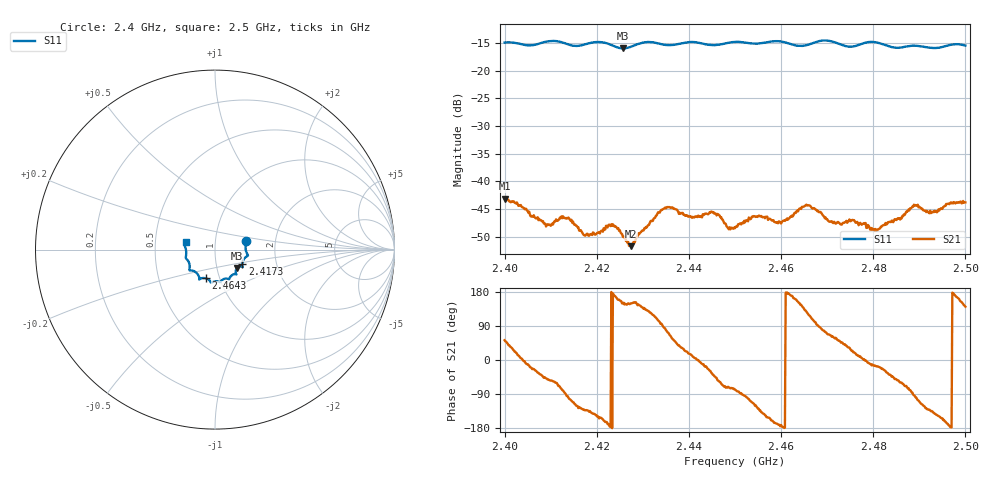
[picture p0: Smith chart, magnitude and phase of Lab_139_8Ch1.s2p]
# Hz S RI R 50
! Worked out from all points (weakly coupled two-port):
!   601 points, 2.4 GHz to 2.5 GHz, reference 50 ohm
!   highest |S21| = -43.13 dB at 2.4 GHz (marker M1); lowest = -51.7 dB at 2.4273 GHz (marker M2)
!   lowest |S11| = -15.9 dB at 2.4257 GHz (marker M3), VSWR 1.38, Z = 62.4 - j13.1 ohm
!   |S11| at or under -10 dB: start of sweep to end of sweep
!   S12 and S22 are empty: the file has one direction only
!   S11 on the Smith chart (normalised r, x): 2.4 GHz: 1.41, +0.14; 2.4173 GHz: 1.34, -0.23; 2.4643 GHz: 0.86, -0.28; 2.5 GHz: 0.72, +0.06
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2.4e9  0.1734 0.0495  0.00429 0.0055  0 0  0 0
2.409e9  0.1815 -0.0283  0.00259 -0.00292  0 0  0 0
2.414e9  0.1658 -0.0466  -0.000989 -0.00451  0 0  0 0
2.416667e9  0.153 -0.0749  -0.00219 -0.00278  0 0  0 0
2.417333e9  0.1521 -0.0823  -0.00219 -0.0024  0 0  0 0
2.423e9  0.1452 -0.0934  -0.00392 -0.000221  0 0  0 0
2.425667e9  0.1226 -0.1022  -0.0027 0.00161  0 0  0 0
2.427333e9  0.1156 -0.1175  -0.00222 0.00132  0 0  0 0
2.433333e9  0.1127 -0.1366  -0.0013 0.00509  0 0  0 0
2.435667e9  0.0967 -0.1411  0.00207 0.00547  0 0  0 0
2.445e9  0.0554 -0.1617  0.00433 -0.00308  0 0  0 0
2.45e9  0.0298 -0.1808  0.000777 -0.00369  0 0  0 0
2.454167e9  0.00894 -0.1763  -0.00214 -0.00434  0 0  0 0
2.460333e9  -0.0244 -0.1819  -0.00435 -0.000269  0 0  0 0
2.464333e9  -0.0503 -0.1604  -0.00465 0.00315  0 0  0 0
2.466667e9  -0.0761 -0.1598  -0.00185 0.00543  0 0  0 0
2.471667e9  -0.0871 -0.1591  0.00231 0.00355  0 0  0 0
2.480333e9  -0.1431 -0.1127  0.00345 -0.000875  0 0  0 0
2.483333e9  -0.1412 -0.0894  0.00338 -0.0026  0 0  0 0
2.489167e9  -0.1625 -0.045  -0.000891 -0.00603  0 0  0 0
2.492667e9  -0.1604 -0.0177  -0.00372 -0.00377  0 0  0 0
2.5e9  -0.1641 0.0424  -0.005 0.00407  0 0  0 0
